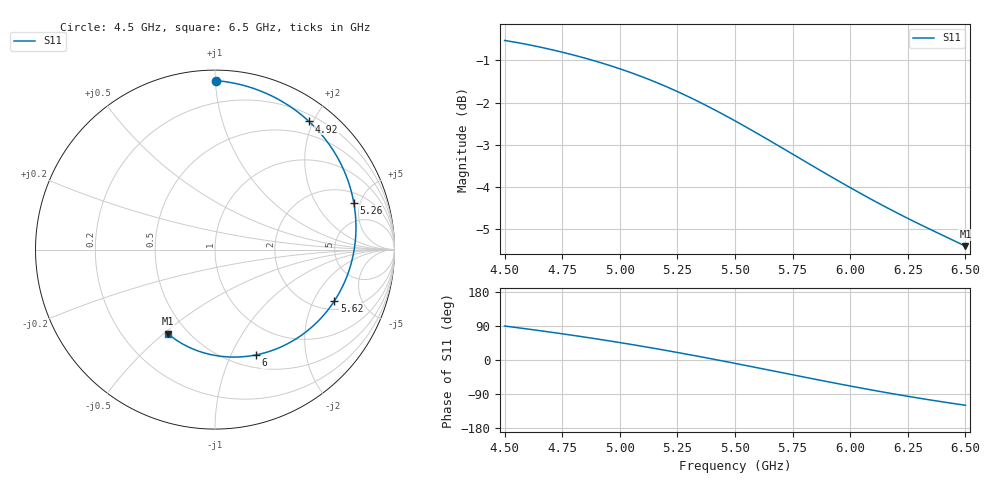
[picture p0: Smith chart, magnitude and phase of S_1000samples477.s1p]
! TOUCHSTONE file generated by CST MICROWAVE STUDIO
! Date and time: Fri Oct 28 07:19:08 2022
! Project name: L.cst
! Parameters = {Di=1.27; Epsilon_r=1.56; InnerDiameter=1.27; Length=2; Lf=10; Lg=60; OuterConductorThickness=0.2921; OuterDiameter=3.6; Wf=3; Wp=41.2; de=1.5; df=6.8; g=0.8; gx=2.543; gy=3.44737; h=2.34; hf=1.524; px=11.299; py=8.97811; w=9.7; wx=8.75598; wy=5.53075}
! Header version: 2018
! Port assignment regex: !\s*Touchstone port\s*([0-9]+)\s*=\s*(CST MWS port|CST DS port)\s*([0-9]+|Zmin|Zmax)\s*\(\"(.*)\"\)(\s*mode\s*([0-9]+))?.*
! Touchstone port assignment:
! Touchstone port 1 = CST MWS port 1 ("")
# GHz S DB R 50
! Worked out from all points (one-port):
!   101 points, 4.5 GHz to 6.5 GHz, reference 50 ohm
!   lowest |S11| = -5.4 dB at 6.5 GHz (marker M1), VSWR 3.32, Z = 19.6 - j25.8 ohm
!   |S11| at or under -10 dB: nowhere
!   S11 on the Smith chart (normalised r, x): 4.5 GHz: 0.06, +1.00; 4.92 GHz: 0.29, +1.94; 5.26 GHz: 2.77, +4.36; 5.62 GHz: 2.45, -2.95; 6 GHz: 0.64, -1.25; 6.5 GHz: 0.39, -0.52
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4.5  -0.52 89.6
4.58  -0.60 83.3
4.64  -0.67 78.4
4.76  -0.82 68.3
4.84  -0.93 61.1
4.92  -1.06 53.7
5  -1.20 46.0
5.08  -1.35 37.9
5.14  -1.48 31.7
5.2  -1.62 25.3
5.26  -1.76 18.7
5.32  -1.92 12.0
5.38  -2.08 5.2
5.44  -2.25 -1.8
5.5  -2.43 -8.9
5.56  -2.62 -16.0
5.62  -2.80 -23.3
5.7  -3.06 -32.9
5.76  -3.25 -40.2
5.82  -3.45 -47.4
5.88  -3.64 -54.6
5.94  -3.83 -61.7
6  -4.02 -68.6
6.12  -4.38 -82.1
6.18  -4.55 -88.5
6.26  -4.77 -96.8
6.38  -5.09 -108.5
6.5  -5.40 -119.4
